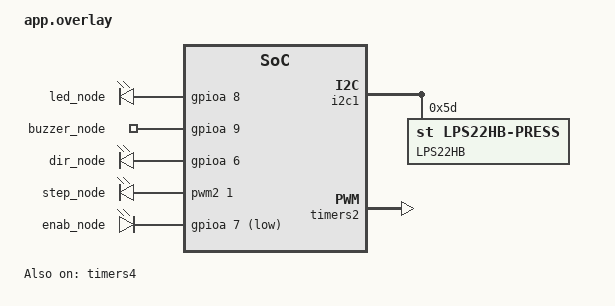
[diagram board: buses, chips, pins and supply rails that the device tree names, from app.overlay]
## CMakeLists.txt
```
#Current version
cmake_minimum_required(VERSION 3.20)

#It locates the library, where you download the files
find_package(Zephyr REQUIRED HINTS $ENV{ZEPHYR_BASE})

#Name of the project
project(infusion_pump)

#Adds your firmware source files to Zephyr's app target,
#This is what gets compiled and flashed to the NUCLEO board.
target_sources(app PRIVATE
    src/main.cpp
    src/alarm.cpp
    src/occlusion.cpp
    src/volume.cpp
    src/infusion.cpp
    src/hardware.cpp
)

#It will include all the headers
target_include_directories(app PRIVATE include)

# This will tell to compiler, disable this all, Bare-metal C++: no exceptions, no RTTI, no libstdc++ atexit/heap machinery
target_compile_options(app PRIVATE
    -fno-exceptions
    -fno-rtti
    -fno-use-cxa-atexit
)
```

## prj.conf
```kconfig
# Enables C++ compilation in Zephyr
CONFIG_CPP=y

# Enables C++20 language standard
CONFIG_STD_CPP20=y

# Pulls in full C++ standard library (STL) - needed for atomic, cmath, etc
CONFIG_REQUIRES_FULL_LIBCPP=y

# Disables RTTI (dynamic_cast/typeid) - saves flash/RAM
CONFIG_CPP_RTTI=n

# Disables C++ exceptions
CONFIG_CPP_EXCEPTIONS=n

# Core System

# Enables runtime assertions - catches invalid states early during development
CONFIG_ASSERT=y

# Required to inspect stack usage/watermrks (project rule: keep usage <=75%)
CONFIG_THREAD_STACK_INFO=y

# Delay before main() starts - lets USB/serial terminal attach before first printk
CONFIG_BOOT_DELAY=1000

# Enables hardware FPU - used for float rate/volume calc; without this, float ops run in slow software emulation
CONFIG_FPU=y

# GPIO

# Required for LED, buzzer, direction, enable, encoder pins
CONFIG_GPIO=y

# PWM (stepper step signal)

# Required for TIM2/PA0 PWM step generation
CONFIG_PWM=y

# I2C + Sensor (LPS22HB pressure sensor)

# Enables the I2C bus driver subsyem
CONFIG_I2C=y

# Enables Zephyr's generic Sensor API
CONFIG_SENSOR=y

# Enables the specific driver for exact sensor chip (LPS22HB)
CONFIG_LPS22HB=y

# UART (console)

# Enables UART driver subsystem
CONFIG_SERIAL=y

# Routes printk/console output over UART
CONFIG_UART_CONSOLE=y

# Enables console subsystem
CONFIG_CONSOLE=y

# Enables printk() output
CONFIG_PRINTK=y

# Logging

# Logging disabled - using printk directly for this project
CONFIG_LOG=n

# Disables Zephyr heap (0 bytes) - enforces "no malloc/new" project rule
CONFIG_HEAP_MEM_POOL_SIZE=0
```

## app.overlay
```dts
/ {
    aliases {
        led0 = &led_node;
        buz0 = &buzzer_node;
        step1 = &step_node;
        dir1 = &dir_node;
        enab1 = &enab_node;
        qdec0 = &qdec4;
    };

    my_outputs {
        compatible = "gpio-leds";
        led_node: led1 {
            gpios = <&gpioa 8 GPIO_ACTIVE_HIGH>;
        };
        buzzer_node: buz1 {
            gpios = <&gpioa 9 GPIO_ACTIVE_HIGH>;
        };
        dir_node: dir1 {
            gpios = <&gpioa 6 GPIO_ACTIVE_HIGH>;
        };
    };
    my_pwm {
    compatible = "pwm-leds";
    step_node: step1 {
        pwms = <&pwm2 1 1000000 PWM_POLARITY_NORMAL>;
    };
};
    my_controls {
        compatible = "gpio-leds";
        enab_node: enab1 {
            gpios = <&gpioa 7 GPIO_ACTIVE_LOW>;
        };
    };

};

&i2c1 {
    status = "okay";
    lps22hb@5d {
        compatible = "st,lps22hb-press";
        reg = <0x5d>;
        label = "LPS22HB";
    };
};
&timers2 {
    status = "okay";
    pwm2: pwm {
        status = "okay";
        pinctrl-0 = <&tim2_ch1_pa0>;
        pinctrl-names = "default";
        #pwm-cells = <3>;
    };
};
&pinctrl {
    tim4_ch1_pb6: tim4_ch1_pb6 {
        pinmux = <STM32_PINMUX('B', 6, AF2)>;
    };

    tim4_ch2_pb7: tim4_ch2_pb7 {
        pinmux = <STM32_PINMUX('B', 7, AF2)>;
    };
};

&timers4 {
    status = "okay";
    st,prescaler = <0>;

    qdec4: qdec4 {
        compatible = "st,stm32-qdec";
        status = "okay";
        pinctrl-0 = <&tim4_ch1_pb6 &tim4_ch2_pb7>;
        pinctrl-names = "default";
        st,encoder-mode = <3>;
        st,counts-per-revolution = <2400>;
    };
};
```

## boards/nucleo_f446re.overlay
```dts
// here , we are creating new devices
/ {
    aliases {
        led0 = &led_node;
        buz0 = &buzzer_node;
        step1 = &step_node;
        dir1 = &dir_node;
        enab1 = &enab_node;
        qdec0 = &qdec4;
    };

    my_outputs {
        compatible = "gpio-leds";
        led_node: led1 {
            gpios = <&gpioa 8 GPIO_ACTIVE_HIGH>;
        };
        buzzer_node: buz1 {
            gpios = <&gpioa 9 GPIO_ACTIVE_HIGH>;
        };
        dir_node: dir1 {
            gpios = <&gpioa 6 GPIO_ACTIVE_HIGH>;
        };
    };
    my_pwm {
    compatible = "pwm-leds"; // Here, we used pwm driver
    step_node: step1 {
        pwms = <&pwm2 1 1000000 PWM_POLARITY_NORMAL>; // Here we used TIM 2 , chl 1 , then nano seconds
    };
};
    my_controls {
        compatible = "gpio-leds";
        enab_node: enab1 {
            gpios = <&gpioa 7 GPIO_ACTIVE_LOW>;
        };
    };

};

// Here, we modifing existing pheriperals

&i2c1 {
    status = "okay";
    pinctrl-0 = <&i2c1_scl_pb8 &i2c1_sda_pb9>;
    pinctrl-names = "default";
    clock-frequency = <I2C_BITRATE_FAST>;

    lps_sensor: lps22hb@5d {
        compatible = "st,lps22hb-press";
        reg = <0x5d>;
        label = "LPS22HB";
    };
};

&timers2 {                                 // enable timer2 — this is what drives the PWM
                                            // used for stepper STEP pulses
    status = "okay";
    pwm2: pwm {
        status = "okay";
        pinctrl-0 = <&tim2_ch1_pa0>;       // timer channel + pin
        pinctrl-names = "default";
    };
};

&pinctrl {
    tim4_ch1_pb6: tim4_ch1_pb6 {
        pinmux = <STM32_PINMUX('B', 6, AF2)>;   // pin for chl 1 — encoder phase A
    };

    tim4_ch2_pb7: tim4_ch2_pb7 {
        pinmux = <STM32_PINMUX('B', 7, AF2)>;   // pin for chl 2 — encoder phase B
    };
};

&timers4 {                                 // TIM4 used in hardware encoder mode,
                                            // not GPIO interrupts — lets the timer count
                                            // pulses on its own, no CPU load per tick
    status = "okay";
    st,prescaler = <0>;

    qdec4: qdec4 {
        compatible = "st,stm32-qdec";      // qdec driver
        status = "okay";
        pinctrl-0 = <&tim4_ch1_pb6 &tim4_ch2_pb7>;
        pinctrl-names = "default";
        st,encoder-mode = <3>;             // count on both edges of A & B — gives
                                            // full 4x resolution (2400 CPR from 600 PPR)
        st,counts-per-revolution = <2400>;
    };
};
```

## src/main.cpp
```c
#include <zephyr/kernel.h>
#include <zephyr/drivers/uart.h>
#include <cstdio>
#include <cstdlib>
#include <cstring>

#include "alarm.hpp"
#include "hardware.hpp"
#include "infusion.hpp"
#include "occlusion.hpp"
#include "volume.hpp"

static VolumeTracker volume;
static AlarmManager  alarm;
static OcclusionMonitor occlus;
static led l;
static buz b;

static float initial = 10.0F;   ///< ramp mode starting rate, mL/hr
static float fin     = 190.0F;  ///< ramp mode max rate, mL/hr
static float incr    = 3.0F;    ///< ramp mode rate increase per step

static LinearRampMode ramp(initial, incr, fin, 100.0F, volume, occlus, alarm);
static ConstantRateMode constant(100.0F, volume, occlus, alarm);
static InfusionMode *active_mode = nullptr;  ///< active mode, base-class pointer

static bool running = false;   ///< pump running state
static bool paused  = false;   ///< pump paused state

// Guards running/paused/active_mode and any mode-object fields (ramp/constant/volume)
// touched from both the main thread (UART commands) and th_fn (control loop).
static K_MUTEX_DEFINE(state_mutex);

static const struct device *uart_dev = DEVICE_DT_GET(DT_CHOSEN(zephyr_console));

K_THREAD_STACK_DEFINE(thread1, 1024);
static struct k_thread my_thread;

/// @brief Blocking line read over UART, used only during startup mode prompt.
static void read_line(char *buf, uint8_t max_len) {
    uint8_t idx = 0U;
    uint8_t c;
    while (idx < (max_len - 1U)) {
        if (uart_poll_in(uart_dev, &c) == 0) {
            if (c == '\r' || c == '\n') { break; }
            buf[idx++] = static_cast<char>(c);
        }
        k_sleep(K_MSEC(10));
    }
    buf[idx] = '\0';
}

/// @brief Control-loop thread: drives the active infusion mode every 10ms.
void th_fn(void *arg1, void *arg2, void *arg3) {
    while (true) {
        k_mutex_lock(&state_mutex, K_FOREVER);
        if (running && !paused && active_mode != nullptr) {
            active_mode->run();
            if (active_mode->completed_) {
                running = false;
                active_mode->completed_ = false;
            }
        }
        k_mutex_unlock(&state_mutex);
        k_sleep(K_MSEC(10));
    }
}

/// @brief Entry point: initializes hardware, prompts mode, starts control thread, runs UART command loop.
int main() {
    char buf[32]      = {0};
    uint8_t idx       = 0U;
    char mode_buf[10] = {0};

    alarm.add(&l);
    alarm.add(&b);
    hardware_init();

    printk("Mode: CONSTANT or LINEAR?\n> ");
    read_line(mode_buf, sizeof(mode_buf));

    if (strcmp(mode_buf, "LINEAR") == 0) {
        active_mode = static_cast<InfusionMode*>(&ramp);
        printk("Linear Mode\n");
        printk("Default ramp: 10 to 190 ml/hr, +3/min, Volume: 100 ml\n");
        printk("Use SET_RAMP <start> <end> <incr> to customize, or START to use default\n");
    } else {
        active_mode = static_cast<InfusionMode*>(&constant);
        printk("Constant Mode\n");
        printk("Default rate: 100 ml/hr\n");
        printk("Use SET_RATE <value> to customize, or START to use default\n");
    }

    volume.initial = k_uptime_get();
    k_thread_create(&my_thread, thread1, K_THREAD_STACK_SIZEOF(thread1),
                th_fn, nullptr, nullptr, nullptr, 5, 0, K_NO_WAIT);

    printk("\n   HCE Infusion Pump Platform v1.0\nCmds: START|STOP|PAUSE|RESET|MODE|SET_RATE|SET_RAMP\n> ");

    while (true) {
        uint8_t c;
        if (uart_poll_in(uart_dev, &c) == 0) {
            printk("%c", c);
            if (c == '\r' || c == '\n') {
                buf[idx] = '\0';
                printk("\n");

                if (strcmp(buf, "START") == 0) {
                    k_mutex_lock(&state_mutex, K_FOREVER);
                    if (!paused) {
                        active_mode->started_ = false;
                        active_mode->volume.initial = k_uptime_get();
                    }
                    active_mode->volume.last_calc_ms = k_uptime_get();
                    running = true; paused = false;
                    k_mutex_unlock(&state_mutex);
                    printk(">> Started\n");

                } else if (strcmp(buf, "STOP") == 0) {
                    k_mutex_lock(&state_mutex, K_FOREVER);
                    running = false; paused = false;
                    active_mode->volume.expected = 0.0F;
                    active_mode->volume.last_calc_ms = 0;
                    active_mode->started_ = false;
                    k_mutex_unlock(&state_mutex);
                    motor_stop();
                    printk(">> Stopped\n");

                } else if (strcmp(buf, "PAUSE") == 0) {
                    k_mutex_lock(&state_mutex, K_FOREVER);
                    paused = true;
                    active_mode->volume.last_calc_ms = k_uptime_get();
                    k_mutex_unlock(&state_mutex);
                    motor_stop();
                    printk(">> Paused\n");

                } else if (strcmp(buf, "RESET") == 0) {
                    k_mutex_lock(&state_mutex, K_FOREVER);
                    running = false; paused = false;
                    active_mode->started_ = false;
                    if (active_mode == static_cast<InfusionMode*>(&ramp)) {
                        ramp.current_lvl   = ramp.initial;
                        ramp.tot           = ramp.total_volume;
                        ramp.last_step_ms_ = 0;
                    }
                    active_mode->volume.initial = k_uptime_get();
                    active_mode->volume.expected = 0.0F;
                    active_mode->volume.last_calc_ms = 0;
                    k_mutex_unlock(&state_mutex);
                    alarm.clearAll();
                    motor_stop();
                    printk(">> Reset\n");

                } else if (strncmp(buf, "SET_RATE ", 9) == 0) {
                    float new_rate = atof(buf + 9);
                    if (new_rate <= 0.0F || new_rate > 500.0F) {
                        printk(">> Invalid rate (must be 1-500 mL/hr)\n");
                    } else {
                        k_mutex_lock(&state_mutex, K_FOREVER);
                        if (active_mode == static_cast<InfusionMode*>(&constant)) {
                            constant.setrate = new_rate;
                            k_mutex_unlock(&state_mutex);
                            printk(">> Rate set to %d mL/hr\n", (int)new_rate);
                        } else {
                            k_mutex_unlock(&state_mutex);
                            printk(">> SET_RATE only valid in CONSTANT mode\n");
                        }
                    }

                } else if (strncmp(buf, "SET_RAMP ", 9) == 0) {
                    float new_initial, new_fin, new_incr;
                    int parsed = sscanf(buf + 9, "%f %f %f", &new_initial, &new_fin, &new_incr);

                    if (parsed != 3 || new_initial <= 0.0F || new_fin <= new_initial ||
                        new_fin > 500.0F || new_incr <= 0.0F) {
                        printk(">> Invalid. Usage: SET_RAMP <initial> <final> <increment>\n");
                    } else {
                        k_mutex_lock(&state_mutex, K_FOREVER);
                        ramp.initial     = new_initial;
                        ramp.fin         = new_fin;
                        ramp.incr        = new_incr;
                        ramp.current_lvl = new_initial;
                        k_mutex_unlock(&state_mutex);
                        printk(">> Ramp set: %d -> %d mL/hr, +%d/step\n",
                               (int)new_initial, (int)new_fin, (int)new_incr);
                    }

                } else if (strcmp(buf, "MODE") == 0) {
                    k_mutex_lock(&state_mutex, K_FOREVER);
                    InfusionMode *next = (active_mode == static_cast<InfusionMode*>(&constant))
                                        ? static_cast<InfusionMode*>(&ramp)
                                        : static_cast<InfusionMode*>(&constant);
                    active_mode = switch_mode(active_mode, next);
                    k_mutex_unlock(&state_mutex);
                    printk(">> Mode switched\n");

                } else {
                    printk(">> Unknown\n");
                }

                idx = 0U;
                printk("> ");

            } else if (idx < 31U) {
                buf[idx++] = static_cast<char>(c);
            }
        }
        k_sleep(K_MSEC(10));
    }
    return 0;
}
```

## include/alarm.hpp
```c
#pragma once
#include <stdint.h>
#include "alarm_observer.hpp"

/// @brief Alarm categories tracked independently by AlarmManager.
enum class AlarmType : uint8_t {
    kVolume,
    kOcclusion
};

/// @brief Subject (Observer pattern) - tracks alarm states and notifies all observers.
class AlarmManager {
public:
    /// @brief Registers an observer to receive alarm updates.
    void add(AlarmObserver* obj);

    /// @brief Raises the given alarm type and notifies all observers.
    void notify(AlarmType type);

    /// @brief Clears the given alarm type; notifies observers only if all alarms are clear.
    void clear(AlarmType type);

    /// @brief Clears all alarms and notifies observers.
    void clearAll();

    /// @brief Total number of notify() calls so far.
    uint8_t get_notify_count() const { return noti_count; }

private:
    static constexpr uint8_t MAX_OBSERVERS = 4U;
    AlarmObserver* alarm[MAX_OBSERVERS] = {nullptr};
    uint8_t count = 0U;
    uint8_t noti_count = 0;

    bool volume_active = false;
    bool occlusion_active = false;
};
```

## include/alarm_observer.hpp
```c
#pragma once

/// @brief Base class for alarm observers (Observer pattern).
class AlarmObserver {
public:
    virtual ~AlarmObserver() = default; // LCOV_EXCL_LINE

    /// @brief Reacts to alarm state change.
    /// @param active true if alarm is active.
    virtual void update(bool active) = 0;
};

/// @brief LED alarm indicator.
class led : public AlarmObserver {
public:
    void update(bool active) override;
};

/// @brief Buzzer alarm indicator.
class buz : public AlarmObserver {
public:
    void update(bool active) override;
};

/// @brief UART alarm notifier.
class uart_observer : public AlarmObserver {
public:
    void update(bool active) override;
};
```

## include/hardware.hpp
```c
#pragma once
#include <cstdint>
#ifndef UNIT_TEST
#include <zephyr/drivers/pwm.h>
#include <zephyr/devicetree.h>
#include <zephyr/drivers/gpio.h>
#include <zephyr/drivers/uart.h>
#include <zephyr/drivers/sensor.h>

#include "alarm_observer.hpp"

#endif

/// @brief Initializes all GPIO and peripherals.
void hardware_init();

/// @brief Enables the motor driver.
void motor_start();

/// @brief Stops the motor.
void motor_stop();

/// @brief Reads pressure sensor value.
/// @return Pressure in kPa.
float sensor_press();

/// @brief Sets stepper delay per step.
/// @param delay_us Delay in microseconds, derived from target rate.
void set_delay_rate(uint32_t delay_us);

/// @brief Gets current encoder position.
/// @return Cumulative encoder tick count.
int32_t get_encoder_position();
```

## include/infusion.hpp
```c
#pragma once
#include <cstdint>
#include "occlusion.hpp"
#include "volume.hpp"
#include "alarm.hpp"

/// @brief Base class for infusion modes (Template Method pattern).
///        run() always does computeTargetRate() -> applyRate() -> checkAlarm();
///        only computeTargetRate() differs per mode.
class InfusionMode {
    public:
    VolumeTracker &volume;      ///< volume tracker reference
    OcclusionMonitor &occlu;    ///< occlusion monitor reference
    AlarmManager &alarm;        ///< alarm manager reference

    float ml_per_sec = 0.0F;       ///< rate in mL/sec
    float steps_per_sec = 0.0F;    ///< rate in steps/sec
    float current_ml = 0.0F;       ///< mL delivered this run
    bool started_ = false;         ///< run started or not
    bool completed_ = false;       ///< infusion done flag
    int64_t start_ms_ = 0;         ///< start time
    int64_t last_alert_ms_ = 0;    ///< last alarm print time
    uint32_t delay = 0U;           ///< delay per motor step (µs)

    /// @brief Binds mode to shared volume/occlusion/alarm modules.
    InfusionMode(VolumeTracker &vol, OcclusionMonitor &occ, AlarmManager &ala)
        : volume(vol), occlu(occ), alarm(ala) {}

    // destructor
    virtual ~InfusionMode() {} // LCOV_EXCL_LINE

    /// @brief Runs one infusion cycle: compute -> apply -> check.
    void run();

    /// @brief Mode-specific rate calculation.
    virtual float computeTargetRate() = 0;

    /// @brief Applies rate to stepper.
    /// @param rate Target rate, mL/hr.
    void applyRate(float rate);

    /// @brief Checks volume/occlusion and raises alarms if needed.
    /// @param rate Current rate, mL/hr.
    void checkAlarm(float rate);
};

/// @brief Fixed-rate infusion mode.
class ConstantRateMode : public InfusionMode {
    public:
    float setrate;   ///< fixed target rate, mL/hr

    /// @brief Sets a fixed infusion rate.
    ConstantRateMode(float rate, VolumeTracker &vt, OcclusionMonitor &om, AlarmManager &am)
        : InfusionMode(vt, om, am), setrate(rate) {}

    float computeTargetRate() override;
};

/// @brief Step-wise ramping infusion mode, rate increases until capped at fin.
class LinearRampMode : public InfusionMode {
    public:
    float initial;              ///< starting rate, mL/hr
    float incr;                 ///< rate increase per step
    float fin;                  ///< max rate cap, mL/hr
    float current_lvl;          ///< current rate level
    float tot;                  ///< remaining volume to infuse
    float total_volume;         ///< original total volume (for RESET)
    int64_t last_step_ms_ = 0;  ///< uptime of last rate step-up
    static constexpr int64_t step_interval_ms_ = 60000;  ///< time between steps (ms)

    /// @brief Sets ramp start/increment/cap and total volume.
    LinearRampMode(float st, float in, float fi, float total,
                   VolumeTracker &vt, OcclusionMonitor &om, AlarmManager &am)
        : InfusionMode(vt, om, am), initial(st), incr(in), fin(fi),
          current_lvl(st), tot(total), total_volume(total) {}

    float computeTargetRate() override;
};

/// @brief Switches active mode without restart, resetting new mode's timing/volume state.
InfusionMode* switch_mode(InfusionMode* current, InfusionMode* next);
```

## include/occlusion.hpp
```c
#pragma once
#include <cstdint>
#include "hardware.hpp"

/// @brief Monitors line pressure against a fixed threshold to detect occlusion.
class OcclusionMonitor {
    public:
    float press;   ///< last read pressure

    static constexpr float thrshold = 99.56F;  ///< occlusion threshold

    /// @brief Checks current pressure against threshold.
    /// @return true if pressure is at/below threshold (no occlusion).
    bool isPressureNormal();
};
```

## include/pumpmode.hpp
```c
#pragma once
enum class PumpMode { Constant_mode, Linear_mode };
PumpMode get_pump_mode();
```

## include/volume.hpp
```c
#pragma once
#include <cstdint>

/// @brief Tracks infused volume via encoder ticks and checks accuracy against target rate.
class VolumeTracker {
public:
    int64_t initial = 0;              ///< start time of infusion
    float encoder_offset = 0.0F;      ///< encoder count at start
    float ticks = 0;                  ///< ticks moved since start
    float expected = 0.0F;            ///< mL that should be delivered
    float deviation = 0.0F;           ///< % diff, expected vs actual
    float actual = 0.0F;              ///< mL actually delivered
    int64_t last_calc_ms = 0;         ///< last check timestamp
    int64_t last_print = 0;           ///< last status-print timestamp
    static constexpr float ml_per_rotation    = 0.1F;
    static constexpr float ticks_per_rotation = 2400.0F;
    static constexpr float ml_per_tick = ml_per_rotation / ticks_per_rotation;

    /// @brief Checks delivered volume against expected, for given rate.
    /// @param rate Target rate, mL/hr.
    /// @return true if deviation is within 5%.
    bool cal(float rate);
};
```

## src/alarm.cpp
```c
#include "alarm.hpp"

/// @brief Registers an observer, up to MAX_OBSERVERS.
void AlarmManager::add(AlarmObserver* obj) {
    if (count < MAX_OBSERVERS) {
        alarm[count] = obj;
        count++;
    }
}

/// @brief Raises given alarm type and notifies all observers.
void AlarmManager::notify(AlarmType type) {
    if (type == AlarmType::kVolume)    { volume_active = true; }
    if (type == AlarmType::kOcclusion) { occlusion_active = true; }

    for (uint8_t i = 0U; i < count; i++) {
        alarm[i]->update(true);
    }
    noti_count++;
}

/// @brief Clears given alarm type; notifies observers only once all alarms are clear.
void AlarmManager::clear(AlarmType type) {
    if (type == AlarmType::kVolume)    { volume_active = false; }
    if (type == AlarmType::kOcclusion) { occlusion_active = false; }

    if (!volume_active && !occlusion_active) {
        for (uint8_t i = 0U; i < count; i++) {
            alarm[i]->update(false);
        }
    }
}

/// @brief Clears all alarms and notifies observers.
void AlarmManager::clearAll() {
    volume_active = false;
    occlusion_active = false;
    for (uint8_t i = 0U; i < count; i++) {
        alarm[i]->update(false);
    }
}
```

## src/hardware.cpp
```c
#ifdef UNIT_TEST
#include <zephyr/sys/printk.h>
#include <zephyr/drivers/sensor.h>
#else
#include "hardware.hpp"
#include "alarm.hpp"

static const struct gpio_dt_spec led_pin = GPIO_DT_SPEC_GET(DT_ALIAS(led0), gpios);
static const struct gpio_dt_spec buzzer  = GPIO_DT_SPEC_GET(DT_ALIAS(buz0), gpios);
static const struct gpio_dt_spec dir     = GPIO_DT_SPEC_GET(DT_ALIAS(dir1), gpios);
static const struct gpio_dt_spec enab    = GPIO_DT_SPEC_GET(DT_ALIAS(enab1), gpios);
static const struct device *qdec = DEVICE_DT_GET(DT_ALIAS(qdec0));
static const struct pwm_dt_spec step_pwm = PWM_DT_SPEC_GET(DT_ALIAS(step1));
const struct device *lps = DEVICE_DT_GET_ANY(st_lps22hb_press);

/// @brief Initializes all GPIO/PWM/sensor peripherals, checks each is ready.
void hardware_init() {
    if (!device_is_ready(led_pin.port)) { printk("FAIL: led_pin\n"); return; }
    if (!device_is_ready(step_pwm.dev)) { printk("FAIL: pwm\n"); return; }
    if (!device_is_ready(lps))          { printk("FAIL: lps\n"); return; }
    if (!device_is_ready(qdec))         { printk("FAIL: qdec\n"); return; }

    gpio_pin_configure_dt(&buzzer, GPIO_OUTPUT_INACTIVE);
    gpio_pin_configure_dt(&dir, GPIO_OUTPUT_INACTIVE);
    gpio_pin_configure_dt(&enab, GPIO_OUTPUT_INACTIVE);
    gpio_pin_configure_dt(&led_pin, GPIO_OUTPUT_INACTIVE);
    gpio_pin_set_dt(&dir, 0);

    printk("Hardware initialized OK\n");
}

/// @brief Reads LPS22HB pressure sensor.
/// @return Pressure in kPa, or 0.0 if sensor not ready.
float sensor_press() {
    if (!device_is_ready(lps)) {
        return 0.0F;
    }
    struct sensor_value pressure;
    sensor_sample_fetch(lps);
    sensor_channel_get(lps, SENSOR_CHAN_PRESS, &pressure); // returns kPa
    return static_cast<float>(sensor_value_to_double(&pressure));
}

void led::update(bool active) {
    gpio_pin_set_dt(&led_pin, active ? 1 : 0);
}

void buz::update(bool active) {
    gpio_pin_set_dt(&buzzer, active ? 1 : 0);
}

void uart_observer::update(bool active) {
    if (active) {
        printk("ALARM ACTIVE\n");
    }
}

/// @brief Disables the TMC2209 motor driver (EN active-low).
void motor_stop() {
    gpio_pin_set_dt(&enab, 0);  // EN high = disabled
}

/// @brief Enables the TMC2209 motor driver (EN active-low).
void motor_start() {
    gpio_pin_set_dt(&enab, 1);  // EN low = enabled
}

/// @brief Sets stepper pulse rate via PWM.
/// @param delay_us Delay between steps, in microseconds.
void set_delay_rate(uint32_t delay_us) {
    uint32_t period_ns = delay_us * 1000U;
    pwm_set_dt(&step_pwm, period_ns, period_ns / 2U);  // 50% duty cycle
}

/// @brief Reads quadrature encoder and returns cumulative tick count.
int32_t get_encoder_position() {
    struct sensor_value val;
    sensor_sample_fetch(qdec);
    sensor_channel_get(qdec, SENSOR_CHAN_ROTATION, &val);
    int32_t raw = (val.val1 * 2400) / 360;   // 0-2400 within one rotation

    static int32_t last_raw = raw;  // it will run once
    static int32_t cumulative = 0; 

    int32_t delta = raw - last_raw;

    // detect wrap: large jump means it wrapped around
    if (delta < -1200) {
        delta += 2400;   // wrapped forward (e.g. 2350 -> 20)
    } else if (delta > 1200) {
        delta -= 2400;   // wrapped backward (reverse direction)
    }

    cumulative += delta;
    last_raw = raw;

    return cumulative;
}

#endif
```

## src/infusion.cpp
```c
    #include "infusion.hpp"
    #include <stdlib.h>
    #include <cmath>
    #ifdef UNIT_TEST
    #include "stub_file.hpp"
    #include <cstdio>
    #define printk printf
    #else
    #include "hardware.hpp"
    #include <zephyr/sys/printk.h>
    #endif

    // Motor/timing conversion constants
    static constexpr float sec_per_hr          = 3600.0F;   // seconds in an hour, for mL/hr -> mL/s
    static constexpr float steps_per_ml        = 32000.0F;   // stepper steps needed per mL delivered
    static constexpr float usec_per_sec        = 1000000.0F; // microseconds in a second, for step delay calc
    static constexpr float ms_per_tick         = 10.0F;      // duration of one control-loop tick, in ms
    static constexpr float ms_per_hr           = 3600000.0F; // milliseconds in an hour, for elapsed-time calc
    static constexpr int64_t alarm_throttle_ms = 2000;        // min gap between repeated volume alerts
    static int64_t last_ramp_print = 0;

    /// @brief Template method: It follow the same structure here,
    void InfusionMode::run() {
        float rate = computeTargetRate();  
        applyRate(rate);                   
        checkAlarm(rate);                  
    }

    /// @brief Converts target rate (mL/hr) into stepper delay and starts/refreshes motor output
    void InfusionMode::applyRate(float rate) {
        if (!started_) { // pass only first time
            volume.encoder_offset = static_cast<float>(get_encoder_position());
            start_ms_ = k_uptime_get();     // mark infusion start time, once
            started_  = true;
        }
        if (rate < 0.001F) { return; }      // guard against divide-by-zero on near-zero rate

        ml_per_sec    = rate / sec_per_hr;         // we calculate ml per seconds

        steps_per_sec = steps_per_ml * ml_per_sec; // we calculate steps per sec
        motor_start();
        
        delay = static_cast<uint32_t>(usec_per_sec / steps_per_sec);        // converst steps per second into microseconds
        set_delay_rate(delay);
    }

    /// @brief Checks volume-tracking mismatch and occlusion pressure,
    ///        raises/clears each alarm type independently — no cross-wipe
    void InfusionMode::checkAlarm(float rate) {

        // Volume Check
        if (!volume.cal(rate)) {
            int64_t now = k_uptime_get();
            if (now - last_alert_ms_ >= alarm_throttle_ms) {
                printk("[ALARM] Volume deviation exceeded 5%%\n"); 
                last_alert_ms_ = now;
            }
            alarm.notify(AlarmType::kVolume);
        } else {
            alarm.clear(AlarmType::kVolume);
        }

        // Occlusion check: pressure out of range -> alert, else clear only occlusion
        if (!occlu.isPressureNormal()) {
            printk("[ALARM] Occlusion detected - pressure out of range\n");
            alarm.notify(AlarmType::kOcclusion);
        } else {
            alarm.clear(AlarmType::kOcclusion);
        }
    }

    /// @brief Constant mode: rate never changes
    auto ConstantRateMode::computeTargetRate() -> float {
        return setrate;
    }

    /// @brief Ramp mode: increases rate step-wise every step_interval_ms_, until fin or volume runs out
        auto LinearRampMode::computeTargetRate() -> float {
        int64_t now = k_uptime_get();

        ///@brief if condition to increase current rate per minuite
        if ((now - last_step_ms_) >= step_interval_ms_) {
            current_lvl += incr;
            if (current_lvl > fin) { current_lvl = fin; }
            last_step_ms_ = now;
        }

        float infused = current_lvl * (ms_per_tick / ms_per_hr); //ticks per 10ms with current rate
        tot -= infused;

        /// @brief just to print Datas for every 1 sec
        if (now - last_ramp_print >= 1000) {   // print once per second
            printk("[RAMP] Rate:%d mL/hr | Remaining:%d.%02d mL\n",
               (int)current_lvl,
                (int)tot, (int)(fabsf(tot - (int)tot) * 100));

            printk("[DATA] time_ms:%d rate:%d\n", (int)now, (int)current_lvl);
            last_ramp_print = now;
        }

        if (tot <= 0.0F) {
            completed_ = true;
            motor_stop();
            printk(">> Infusion completed\n");
        }
        return current_lvl;
    }

    /// @brief Switches active infusion mode, resetting timing/volume state on both old and new mode
    InfusionMode* switch_mode(InfusionMode* current, InfusionMode* next) {
        if (current == next) { return current; }  // no-op if same mode selected

        motor_stop();
        current->started_ = false;                // Set the current started state off
        next->started_ = false;                   //Set the next started state off
        next->completed_ = false;                 // clear any stale completion flag
        next->volume.initial = k_uptime_get();    //Before Startinh another mode, we reset the volume level as initial, to calculate present mode data only.
        next->volume.expected = 0.0F;  
        next->volume.last_calc_ms = 0;
        return next;
    }
```

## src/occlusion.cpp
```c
#include <cmath>
#include "occlusion.hpp"

#ifdef UNIT_TEST
#include "stub_file.hpp"
#include <cstdio>
#define printk printf
#else
#include <zephyr/sys/printk.h>
#endif

/// @brief Checks pressure against threshold, logs status every 2s.
/// @return true if pressure is at/below threshold (no occlusion).
auto OcclusionMonitor::isPressureNormal() -> bool {
    press = sensor_press();

    static int64_t last_print = 0;
    int64_t now_ms = k_uptime_get();
    if (now_ms - last_print >= 2000) {
        printk("[PRESSURE] Current:%d.%02d kPa | Threshold:%d.%02d kPa\n",
               (int)press, (int)(fabsf(press - (int)press) * 100),
               (int)thrshold, (int)(fabsf(thrshold - (int)thrshold) * 100));
        last_print = now_ms;
    }
    return press <= thrshold;
}
```

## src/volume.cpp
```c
#include <cstdint>
#include <cmath>
#include "volume.hpp"
#include "infusion.hpp"
#ifdef UNIT_TEST
#include "stub_file.hpp"
#include <cstdio>
#define printk printf
#else
#include "hardware.hpp"
#include <zephyr/sys/printk.h>
#endif

static constexpr float ms_per_hr = 3600000.0F;
static constexpr float accuracy_lvl = 5.0F;
static constexpr float tot_percentage = 100.0F;
static constexpr int64_t grace_ms = 3000;   ///< skip data for 3s after start

auto VolumeTracker::cal(float rate) -> bool {
    ticks = fabsf(static_cast<float>(get_encoder_position()) - encoder_offset);

    int64_t now_ms = k_uptime_get();
    if (last_calc_ms == 0) { last_calc_ms = now_ms; }
    float dt_hr = static_cast<float>(now_ms - last_calc_ms) / ms_per_hr;
    expected += rate * dt_hr;
    last_calc_ms = now_ms;

    actual = ticks * ml_per_tick;

    if (expected < 0.0001F) { return true; }

    deviation = fabsf(expected - actual) / expected * tot_percentage;

    if (now_ms - last_print >= 2000) {
        printk("[STATUS] Rate:%d mL/hr | Delivered:%d.%02d mL | Expected:%d.%02d mL | Dev:%d%%\n",
               (int)rate,
               (int)actual, (int)(fabsf(actual - (int)actual) * 100),
               (int)expected, (int)(fabsf(expected - (int)expected) * 100),
               (int)deviation);
        last_print = now_ms;
    }
    return deviation < accuracy_lvl;
}
```
